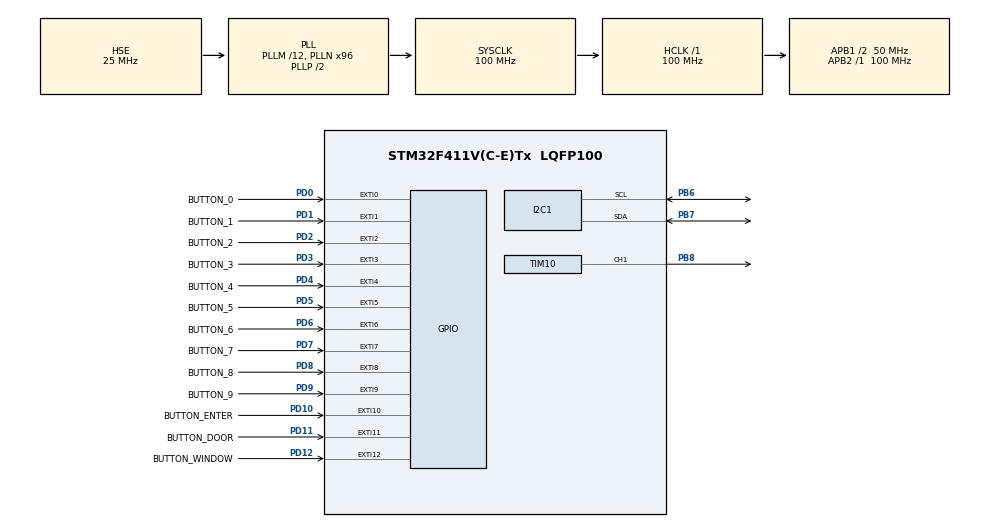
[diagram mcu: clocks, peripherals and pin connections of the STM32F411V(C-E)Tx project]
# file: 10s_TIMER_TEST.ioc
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Mcu.Family=STM32F4
VP_TIM5_VS_ClockSourceINT.Mode=Internal
PD12.GPIO_Label=BUTTON_WINDOW
RCC.CortexFreq_Value=100000000
PD3.GPIO_ModeDefaultEXTI=GPIO_MODE_IT_RISING
NVIC.EXTI3_IRQn=true\:0\:0\:false\:false\:true\:true\:true
PD0.GPIO_Label=BUTTON_0
PD10.GPIO_PuPd=GPIO_PULLUP
PD8.GPIO_PuPd=GPIO_PULLUP
PD4.GPIO_ModeDefaultEXTI=GPIO_MODE_IT_RISING
PD6.GPIO_Label=BUTTON_6
RCC.SYSCLKSource=RCC_SYSCLKSOURCE_PLLCLK
ProjectManager.StackSize=0x400
PD11.GPIO_PuPd=GPIO_PULLUP
PD1.GPIO_ModeDefaultEXTI=GPIO_MODE_IT_RISING
NVIC.EXTI1_IRQn=true\:0\:0\:false\:false\:true\:true\:true
TIM1.Prescaler=9999
PH0\ -\ OSC_IN.Signal=RCC_OSC_IN
PD7.GPIO_PuPd=GPIO_PULLUP
NVIC.TIM5_IRQn=true\:0\:0\:false\:false\:true\:true\:true
PD11.GPIO_Label=BUTTON_DOOR
RCC.HCLKFreq_Value=100000000
PD4.Signal=GPXTI4
RCC.APB2TimFreq_Value=100000000
PB6.Signal=I2C1_SCL
VP_TIM10_VS_ClockSourceINT.Mode=Enable_Timer
PB6.Mode=I2C
PD0.Signal=GPXTI0
PD8.Signal=GPXTI8
PD10.GPIO_ModeDefaultEXTI=GPIO_MODE_IT_RISING
RCC.AHBFreq_Value=100000000
PD2.GPIO_ModeDefaultEXTI=GPIO_MODE_IT_RISING
NVIC.EXTI15_10_IRQn=true\:0\:0\:false\:false\:true\:true\:true
RCC.HSE_VALUE=25000000
TIM10.Channel=TIM_CHANNEL_1
PD1.GPIO_Label=BUTTON_1
PD8.GPIO_ModeDefaultEXTI=GPIO_MODE_IT_RISING
PB7.Signal=I2C1_SDA
PB6.GPIO_PuPdOD=GPIO_NOPULL
VP_TIM1_VS_ClockSourceINT.Mode=Internal
PD11.GPIO_ModeDefaultEXTI=GPIO_MODE_IT_RISING
PD7.GPIO_Label=BUTTON_7
Mcu.Package=LQFP100
PD6.GPIO_ModeDefaultEXTI=GPIO_MODE_IT_RISING
PD12.Signal=GPXTI12
SH.S_TIM10_CH1.0=TIM10_CH1,PWM Generation1 CH1
PD5.GPIO_Label=BUTTON_5
NVIC.EXTI2_IRQn=true\:0\:0\:false\:false\:true\:true\:true
RCC.APB1TimFreq_Value=100000000
PD3.GPIO_Label=BUTTON_3
TIM1.Period=300
PD3.GPIO_PuPd=GPIO_PULLUP
PD6.Signal=GPXTI6
PD9.GPIO_PuPd=GPIO_PULLUP
RCC.PLLSourceVirtual=RCC_PLLSOURCE_HSE
TIM10.Prescaler=9999
NVIC.EXTI4_IRQn=true\:0\:0\:false\:false\:true\:true\:true
PD9.GPIO_Label=BUTTON_9
PD2.GPIO_PuPd=GPIO_PULLUP
PD3.Signal=GPXTI3
PH1\ -\ OSC_OUT.Mode=HSE-External-Oscillator
PD7.Signal=GPXTI7
PD1.Signal=GPXTI1
PD9.Signal=GPXTI9
PD5.Signal=GPXTI5
PD1.GPIO_PuPd=GPIO_PULLUP
RCC.APB1CLKDivider=RCC_HCLK_DIV2
PD8.GPIO_Label=BUTTON_8
PD10.Signal=GPXTI10
TIM1.AutoReloadPreload=TIM_AUTORELOAD_PRELOAD_DISABLE
PD4.GPIO_PuPd=GPIO_PULLUP
PH0\ -\ OSC_IN.Mode=HSE-External-Oscillator
ProjectManager.TargetToolchain=SW4STM32
PD10.GPIO_Label=BUTTON_ENTER
RCC.LSE_VALUE=32768
PH1\ -\ OSC_OUT.Signal=RCC_OSC_OUT
board=custom
RCC.VCOOutputFreq_Value=200000000
PD9.GPIO_ModeDefaultEXTI=GPIO_MODE_IT_RISING
PD12.GPIO_ModeDefaultEXTI=GPIO_MODE_IT_RISING
TIM10.Period=39
RCC.APB2Freq_Value=100000000
PD4.GPIO_Label=BUTTON_4
PD5.GPIO_PuPd=GPIO_PULLUP
PB7.GPIO_PuPdOD=GPIO_NOPULL
PD7.GPIO_ModeDefaultEXTI=GPIO_MODE_IT_RISING
PD0.GPIO_ModeDefaultEXTI=GPIO_MODE_IT_RISING
Mcu.Name=STM32F411V(C-E)Tx
RCC.48MHZClocksFreq_Value=50000000
NVIC.EXTI0_IRQn=true\:0\:0\:false\:false\:true\:true\:true
RCC.SYSCLKFreq_VALUE=100000000
TIM5.Prescaler=9999
PD11.Signal=GPXTI11
PB7.Mode=I2C
NVIC.EXTI9_5_IRQn=true\:0\:0\:false\:false\:true\:true\:true
ProjectManager.HeapSize=0x200
PD0.GPIO_PuPd=GPIO_PULLUP
NVIC.TIM1_UP_TIM10_IRQn=true\:0\:0\:false\:false\:true\:true\:true
RCC.HSI_VALUE=16000000
NVIC.PriorityGroup=NVIC_PRIORITYGROUP_4
RCC.PLLM=12
RCC.PLLN=96
PD5.GPIO_ModeDefaultEXTI=GPIO_MODE_IT_RISING
PB8.Signal=S_TIM10_CH1
TIM5.Period=29999
PD2.Signal=GPXTI2
RCC.APB1Freq_Value=50000000
PD2.GPIO_Label=BUTTON_2
PD12.GPIO_PuPd=GPIO_PULLUP
PD6.GPIO_PuPd=GPIO_PULLUP

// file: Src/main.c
/* USER CODE BEGIN Header */
/**
  ******************************************************************************
  * @file           : main.c
  * @brief          : Main program body
  ******************************************************************************
  * @attention
  *
  * <h2><center>&copy; Copyright (c) 2020 STMicroelectronics.
  * All rights reserved.</center></h2>
  *
  * This software component is licensed by ST under BSD 3-Clause license,
  * the "License"; You may not use this file except in compliance with the
  * License. You may obtain a copy of the License at:
  *                        opensource.org/licenses/BSD-3-Clause
  *
  ******************************************************************************
  */
/* USER CODE END Header */

#include "main.h"
#include "i2c.h"
#include "tim.h"
#include "gpio.h"

/* USER CODE BEGIN Includes */
#include "lcd_i2c.h"
#include <string.h>
#include <stdbool.h>
#include <stdio.h>
/* USER CODE END Includes */

/* USER CODE BEGIN PTD */

typedef enum state_t
{
	OFF,				// ALARM WY£¥CZONY
	TIME10S,			// 10 SEKUND DO AKTYWOWANIA ALARMU
	LOUD,				// ALARM!!!
	READY,				// ALARM AKTYWNY
	READY_door_open		// STAN PRZECHODNI, GDY DRZWI ZOSTAN¥ OTWARTE I OSOBA MA 10 SEKUND NA WPISANIE KODU ALBO ZOSTANIE W£¥CZONY ALARM!!!
} state_t;

/* USER CODE END PTD */

/* USER CODE BEGIN PV */
struct lcd_disp disp;	// to struktura u¿ywana w bibliotece lcd_i2c.h

state_t state = OFF;
bool changed = false;

bool button_used = true;
uint16_t button_clicked;

char password_correct[4] = "0000";
char password[4] = "----";
/* USER CODE END PV */

void SystemClock_Config(void);
/* USER CODE BEGIN PFP */
void HAL_GPIO_EXTI_Callback(uint16_t GPIO_Pin)
{
	if(GPIO_Pin == BUTTON_ENTER_Pin && button_used == true)				// ENTER
	{
		button_used = false;
		button_clicked = BUTTON_ENTER_Pin;

		__HAL_TIM_CLEAR_IT(&htim1 ,TIM_IT_UPDATE);
		HAL_TIM_Base_Start_IT(&htim1);
	}
	else if(GPIO_Pin == BUTTON_DOOR_Pin && button_used == true)			// DOOR
	{
		button_used = false;
		button_clicked = BUTTON_DOOR_Pin;

		__HAL_TIM_CLEAR_IT(&htim1 ,TIM_IT_UPDATE);
		HAL_TIM_Base_Start_IT(&htim1);
	}
	else if(GPIO_Pin == BUTTON_WINDOW_Pin && button_used == true)		// WINDOW
	{
		button_used = false;
		button_clicked = BUTTON_WINDOW_Pin;

		__HAL_TIM_CLEAR_IT(&htim1 ,TIM_IT_UPDATE);
		HAL_TIM_Base_Start_IT(&htim1);
	}																	// --------------------- PRZYCISKI NUMERYCZNE
	else if(GPIO_Pin == BUTTON_0_Pin && button_used == true)		// 0
	{
		button_used = false;
		button_clicked = BUTTON_0_Pin;

		__HAL_TIM_CLEAR_IT(&htim1 ,TIM_IT_UPDATE);
		HAL_TIM_Base_Start_IT(&htim1);
	}
	else if(GPIO_Pin == BUTTON_1_Pin && button_used == true)		// 1
	{
		button_used = false;
		button_clicked = BUTTON_1_Pin;

		__HAL_TIM_CLEAR_IT(&htim1 ,TIM_IT_UPDATE);
		HAL_TIM_Base_Start_IT(&htim1);
	}
	else if(GPIO_Pin == BUTTON_2_Pin && button_used == true)		// 2
	{
		button_used = false;
		button_clicked = BUTTON_2_Pin;

		__HAL_TIM_CLEAR_IT(&htim1 ,TIM_IT_UPDATE);
		HAL_TIM_Base_Start_IT(&htim1);
	}
	else if(GPIO_Pin == BUTTON_3_Pin && button_used == true)		// 3
	{
		button_used = false;
		button_clicked = BUTTON_3_Pin;

		__HAL_TIM_CLEAR_IT(&htim1 ,TIM_IT_UPDATE);
		HAL_TIM_Base_Start_IT(&htim1);
	}
	else if(GPIO_Pin == BUTTON_4_Pin && button_used == true)		// 4
	{
		button_used = false;
		button_clicked = BUTTON_4_Pin;

		__HAL_TIM_CLEAR_IT(&htim1 ,TIM_IT_UPDATE);
		HAL_TIM_Base_Start_IT(&htim1);
	}
	else if(GPIO_Pin == BUTTON_5_Pin && button_used == true)		// 5
	{
		button_used = false;
		button_clicked = BUTTON_5_Pin;

		__HAL_TIM_CLEAR_IT(&htim1 ,TIM_IT_UPDATE);
		HAL_TIM_Base_Start_IT(&htim1);
	}
	else if(GPIO_Pin == BUTTON_6_Pin && button_used == true)		// 6
	{
		button_used = false;
		button_clicked = BUTTON_6_Pin;

		__HAL_TIM_CLEAR_IT(&htim1 ,TIM_IT_UPDATE);
		HAL_TIM_Base_Start_IT(&htim1);
	}
	else if(GPIO_Pin == BUTTON_7_Pin && button_used == true)		// 7
	{
		button_used = false;
		button_clicked = BUTTON_7_Pin;

		__HAL_TIM_CLEAR_IT(&htim1 ,TIM_IT_UPDATE);
		HAL_TIM_Base_Start_IT(&htim1);
	}
	else if(GPIO_Pin == BUTTON_8_Pin && button_used == true)		// 8
	{
		button_used = false;
		button_clicked = BUTTON_8_Pin;

		__HAL_TIM_CLEAR_IT(&htim1 ,TIM_IT_UPDATE);
		HAL_TIM_Base_Start_IT(&htim1);
	}
	else if(GPIO_Pin == BUTTON_9_Pin && button_used == true)		// 9
	{
		button_used = false;
		button_clicked = BUTTON_9_Pin;

		__HAL_TIM_CLEAR_IT(&htim1 ,TIM_IT_UPDATE);
		HAL_TIM_Base_Start_IT(&htim1);
	}
	else
	{
		__NOP();	// Generuje kod maszynowy specyficzny dla platformy, który nie wykonuje operacji. "No Operation Performed"
	}
}

void enter_password(char x){
	password[0] = password[1];		// previous password = "----"
	password[1] = password[2];		// next 	password = "---0"
	password[2] = password[3];		// next x2	password = "--02"
	password[3] = x;				//		...
}

void HAL_TIM_PeriodElapsedCallback(TIM_HandleTypeDef *htim)
{
	HAL_TIM_Base_Stop_IT(&htim1);
	if(state == OFF)	// -------------------------------- OFF
	{
		if(htim->Instance == TIM1)	// DEBAUNCING	ENTER
		{
			if(button_clicked == BUTTON_ENTER_Pin)
			{
				button_used = true;
				HAL_TIM_Base_Stop_IT(&htim1);

				// int equal = strcmp(password, password_correct);
				if(password[0] == '0' && password[1] == '0' && password[2] == '0' && password[3] == '0'){
					state = TIME10S;
					changed = false;

					__HAL_TIM_CLEAR_IT(&htim5 ,TIM_IT_UPDATE);
					HAL_TIM_Base_Start_IT(&htim5);

					enter_password('-');
				}
			}
			if(button_clicked == BUTTON_0_Pin){
				enter_password('0');

				button_used = true;
				HAL_TIM_Base_Stop_IT(&htim1);
			}
			if(button_clicked == BUTTON_1_Pin){
				enter_password('1');

				button_used = true;
				HAL_TIM_Base_Stop_IT(&htim1);
			}
			if(button_clicked == BUTTON_2_Pin){
				enter_password('2');

				button_used = true;
				HAL_TIM_Base_Stop_IT(&htim1);
			}
			if(button_clicked == BUTTON_3_Pin){
				enter_password('3');

				button_used = true;
				HAL_TIM_Base_Stop_IT(&htim1);
			}
			if(button_clicked == BUTTON_4_Pin){
				enter_password('4');

				button_used = true;
				HAL_TIM_Base_Stop_IT(&htim1);
			}
			if(button_clicked == BUTTON_5_Pin){
				enter_password('5');

				button_used = true;
				HAL_TIM_Base_Stop_IT(&htim1);
			}
			if(button_clicked == BUTTON_6_Pin){
				enter_password('6');

				button_used = true;
				HAL_TIM_Base_Stop_IT(&htim1);
			}
			if(button_clicked == BUTTON_7_Pin){
				enter_password('7');

				button_used = true;
				HAL_TIM_Base_Stop_IT(&htim1);
			}
			if(button_clicked == BUTTON_8_Pin){
				enter_password('8');

				button_used = true;
				HAL_TIM_Base_Stop_IT(&htim1);
			}
			if(button_clicked == BUTTON_9_Pin){
				enter_password('9');

				button_used = true;
				HAL_TIM_Base_Stop_IT(&htim1);
			}
		}
	}
	else if(state == TIME10S)	// ------------------------ TIME10S
	{
		if(htim->Instance == TIM5)	// TIMER 10 seconds
		{
			changed = false;
			state = READY;
			HAL_TIM_Base_Stop_IT(&htim5);
		}
	}
	else if(state == READY)		// ------------------------ READY
	{
		if(htim->Instance == TIM1)	// DEBAUNCING	DOOR / WINDOW
		{
			if(button_clicked == BUTTON_DOOR_Pin)
			{
				changed = false;
				state = READY_door_open;

				__HAL_TIM_CLEAR_IT(&htim5 ,TIM_IT_UPDATE);
				HAL_TIM_Base_Start_IT(&htim5);

				button_used = true;
				HAL_TIM_Base_Stop_IT(&htim1);
			}
			else if(button_clicked == BUTTON_WINDOW_Pin)
			{
				changed = false;
				state = LOUD;

				button_used = true;
				HAL_TIM_Base_Stop_IT(&htim1);
			}
		}
	}
	else if(state == READY_door_open)	// ---------------- READY_door_open
	{
		if(htim->Instance == TIM5)	// TIMER 10 seconds
		{
			changed = false;
			state = LOUD;
			HAL_TIM_Base_Stop_IT(&htim5);
		}
		else if(htim->Instance == TIM1)	// DEBAUNCING	ENTER
		{
			if(button_clicked == BUTTON_0_Pin){
				enter_password('0');

				button_used = true;
				HAL_TIM_Base_Stop_IT(&htim1);
			}
			if(button_clicked == BUTTON_1_Pin){
				enter_password('1');

				button_used = true;
				HAL_TIM_Base_Stop_IT(&htim1);
			}
			if(button_clicked == BUTTON_2_Pin){
				enter_password('2');

				button_used = true;
				HAL_TIM_Base_Stop_IT(&htim1);
			}
			if(button_clicked == BUTTON_3_Pin){
				enter_password('3');

				button_used = true;
				HAL_TIM_Base_Stop_IT(&htim1);
			}
			if(button_clicked == BUTTON_4_Pin){
				enter_password('4');

				button_used = true;
				HAL_TIM_Base_Stop_IT(&htim1);
			}
			if(button_clicked == BUTTON_5_Pin){
				enter_password('5');

				button_used = true;
				HAL_TIM_Base_Stop_IT(&htim1);
			}
			if(button_clicked == BUTTON_6_Pin){
				enter_password('6');

				button_used = true;
				HAL_TIM_Base_Stop_IT(&htim1);
			}
			if(button_clicked == BUTTON_7_Pin){
				enter_password('7');

				button_used = true;
				HAL_TIM_Base_Stop_IT(&htim1);
			}
			if(button_clicked == BUTTON_8_Pin){
				enter_password('8');

				button_used = true;
				HAL_TIM_Base_Stop_IT(&htim1);
			}
			if(button_clicked == BUTTON_9_Pin){
				enter_password('9');

				button_used = true;
				HAL_TIM_Base_Stop_IT(&htim1);
			}
			if(button_clicked == BUTTON_ENTER_Pin)	// jeœli w stanie Ready_door_open zostanie wykryte przerwanie do przycisku ENTER
			{
				// int equal = strcmp(password, password_correct);
				if(password[0] == '0' && password[1] == '0' && password[2] == '0' && password[3] == '0'){
					HAL_TIM_Base_Stop_IT(&htim5);		// zatrzymaj timer 5 ¿eby nie pojawi³o siê te¿ przerwanie po 10 sekundach

					changed = false;
					state = OFF;						// zmieñ stan na OFF

					enter_password('-');
				}

				button_used = true;
				HAL_TIM_Base_Stop_IT(&htim1);		// zatrzymaj timer odpowiedzialny za debouncing
			}
		}
	}
	else if(state == LOUD)		// ------------------------ LOUD
	{
		if(htim->Instance == TIM1)	// DEBAUNCING	ENTER
		{
			if(button_clicked == BUTTON_0_Pin){
				enter_password('0');

				button_used = true;
				HAL_TIM_Base_Stop_IT(&htim1);
			}
			if(button_clicked == BUTTON_1_Pin){
				enter_password('1');

				button_used = true;
				HAL_TIM_Base_Stop_IT(&htim1);
			}
			if(button_clicked == BUTTON_2_Pin){
				enter_password('2');

				button_used = true;
				HAL_TIM_Base_Stop_IT(&htim1);
			}
			if(button_clicked == BUTTON_3_Pin){
				enter_password('3');

				button_used = true;
				HAL_TIM_Base_Stop_IT(&htim1);
			}
			if(button_clicked == BUTTON_4_Pin){
				enter_password('4');

				button_used = true;
				HAL_TIM_Base_Stop_IT(&htim1);
			}
			if(button_clicked == BUTTON_5_Pin){
				enter_password('5');

				button_used = true;
				HAL_TIM_Base_Stop_IT(&htim1);
			}
			if(button_clicked == BUTTON_6_Pin){
				enter_password('6');

				button_used = true;
				HAL_TIM_Base_Stop_IT(&htim1);
			}
			if(button_clicked == BUTTON_7_Pin){
				enter_password('7');

				button_used = true;
				HAL_TIM_Base_Stop_IT(&htim1);
			}
			if(button_clicked == BUTTON_8_Pin){
				enter_password('8');

				button_used = true;
				HAL_TIM_Base_Stop_IT(&htim1);
			}
			if(button_clicked == BUTTON_9_Pin){
				enter_password('9');

				button_used = true;
				HAL_TIM_Base_Stop_IT(&htim1);
			}
			if(button_clicked == BUTTON_ENTER_Pin)
			{
				if(password[0] == '0' && password[1] == '0' && password[2] == '0' && password[3] == '0'){
					changed = false;
					state = OFF;

					enter_password('-');
				}

				button_used = true;
				HAL_TIM_Base_Stop_IT(&htim1);
			}
		}
	}
}
/* USER CODE END PFP */

int main(void)
{

  /* MCU Configuration--------------------------------------------------------*/

  /* Reset of all peripherals, Initializes the Flash interface and the Systick. */
  HAL_Init();

  /* Configure the system clock */
  SystemClock_Config();

  /* Initialize all configured peripherals */
  MX_GPIO_Init();
  MX_I2C1_Init();
  MX_TIM10_Init();
  MX_TIM1_Init();
  MX_TIM5_Init();
  /* USER CODE BEGIN 2 */

  state = OFF;

  disp.addr = (0x27 << 1);
  disp.bl = true;

  lcd_init(&disp);

  HAL_TIM_PWM_Start(&htim10, TIM_CHANNEL_1);

  /* USER CODE END 2 */

  /* Infinite loop */
  while (1)
  {
	  if(state == OFF)
	  	  	  {
	  	  			  htim10.Instance->CCR1 = 0;

	  	  			  sprintf((char*)disp.f_line, "OFF");

	  	  			char target[10];

	  	  			strncpy(target, password, 4);
	  	  			target[4] = ' ';
	  	  			target[5] = ' ';
	  	  			target[6] = ' ';
	  				target[7] = ' ';
	  				target[8] = ' ';
	  				target[9] = '\0';

	  	  			  sprintf((char*)disp.s_line, target);
	  	  			  lcd_display(&disp);
	  	  	  }
	  	  	  else if(state == LOUD)
	  	  	  {
	  	  		  	  htim10.Instance->CCR1 = 20;

	  	  			  sprintf((char*)disp.f_line, "LOUD");
	  		  			char target[10];

	  		  			strncpy(target, password, 4);
	  		  			target[4] = ' ';
	  		  			target[5] = ' ';
	  		  			target[6] = ' ';
	  					target[7] = ' ';
	  					target[8] = ' ';
	  					target[9] = '\0';

	  		  			  sprintf((char*)disp.s_line, target);
	  	  			  lcd_display(&disp);
	  	  	  }
	  	  	  else if(state == TIME10S)
	  	  	  {
	  	  		  	  htim10.Instance->CCR1 = 0;

	  	  			  sprintf((char*)disp.f_line, "TIME10s");
	  		  			char target[10];

	  		  			strncpy(target, password, 4);
	  		  			target[4] = ' ';
	  		  			target[5] = ' ';
	  		  			target[6] = ' ';
	  					target[7] = ' ';
	  					target[8] = ' ';
	  					target[9] = '\0';

	  		  			  sprintf((char*)disp.s_line, target);
	  	  			  lcd_display(&disp);
	  	  	  }
	  	  	  else if(state == READY)
	  	  	  {
	  	  		  	  	htim10.Instance->CCR1 = 0;

	  	  			  sprintf((char*)disp.f_line, "READY");
	  		  			char target[10];

	  		  			strncpy(target, password, 4);
	  		  			target[4] = ' ';
	  		  			target[5] = ' ';
	  		  			target[6] = ' ';
	  					target[7] = ' ';
	  					target[8] = ' ';
	  					target[9] = '\0';

	  		  			  sprintf((char*)disp.s_line, target);
	  	  			  lcd_display(&disp);
	  	  	  }
	  	  	  else if(state == READY_door_open)
	  	  	  {
	  	  		  	  htim10.Instance->CCR1 = 0;

	  	  			  sprintf((char*)disp.f_line, "READY(door)");
	  		  			char target[10];

	  		  			strncpy(target, password, 4);
	  		  			target[4] = ' ';
	  		  			target[5] = ' ';
	  		  			target[6] = ' ';
	  					target[7] = ' ';
	  					target[8] = ' ';
	  					target[9] = '\0';

	  		  			  sprintf((char*)disp.s_line, target);
	  	  			  lcd_display(&disp);
	  	  	  }
  }
}

void SystemClock_Config(void)
{
  RCC_OscInitTypeDef RCC_OscInitStruct = {0};
  RCC_ClkInitTypeDef RCC_ClkInitStruct = {0};

  /** Configure the main internal regulator output voltage
  */
  __HAL_RCC_PWR_CLK_ENABLE();
  __HAL_PWR_VOLTAGESCALING_CONFIG(PWR_REGULATOR_VOLTAGE_SCALE1);
  /** Initializes the CPU, AHB and APB busses clocks
  */
  RCC_OscInitStruct.OscillatorType = RCC_OSCILLATORTYPE_HSE;
  RCC_OscInitStruct.HSEState = RCC_HSE_ON;
  RCC_OscInitStruct.PLL.PLLState = RCC_PLL_ON;
  RCC_OscInitStruct.PLL.PLLSource = RCC_PLLSOURCE_HSE;
  RCC_OscInitStruct.PLL.PLLM = 12;
  RCC_OscInitStruct.PLL.PLLN = 96;
  RCC_OscInitStruct.PLL.PLLP = RCC_PLLP_DIV2;
  RCC_OscInitStruct.PLL.PLLQ = 4;
  if (HAL_RCC_OscConfig(&RCC_OscInitStruct) != HAL_OK)
  {
    Error_Handler();
  }
  /** Initializes the CPU, AHB and APB busses clocks
  */
  RCC_ClkInitStruct.ClockType = RCC_CLOCKTYPE_HCLK|RCC_CLOCKTYPE_SYSCLK
                              |RCC_CLOCKTYPE_PCLK1|RCC_CLOCKTYPE_PCLK2;
  RCC_ClkInitStruct.SYSCLKSource = RCC_SYSCLKSOURCE_PLLCLK;
  RCC_ClkInitStruct.AHBCLKDivider = RCC_SYSCLK_DIV1;
  RCC_ClkInitStruct.APB1CLKDivider = RCC_HCLK_DIV2;
  RCC_ClkInitStruct.APB2CLKDivider = RCC_HCLK_DIV1;

  if (HAL_RCC_ClockConfig(&RCC_ClkInitStruct, FLASH_LATENCY_3) != HAL_OK)
  {
    Error_Handler();
  }
}

void Error_Handler(void)
{
}

/************************ (C) COPYRIGHT STMicroelectronics *****END OF FILE****/
